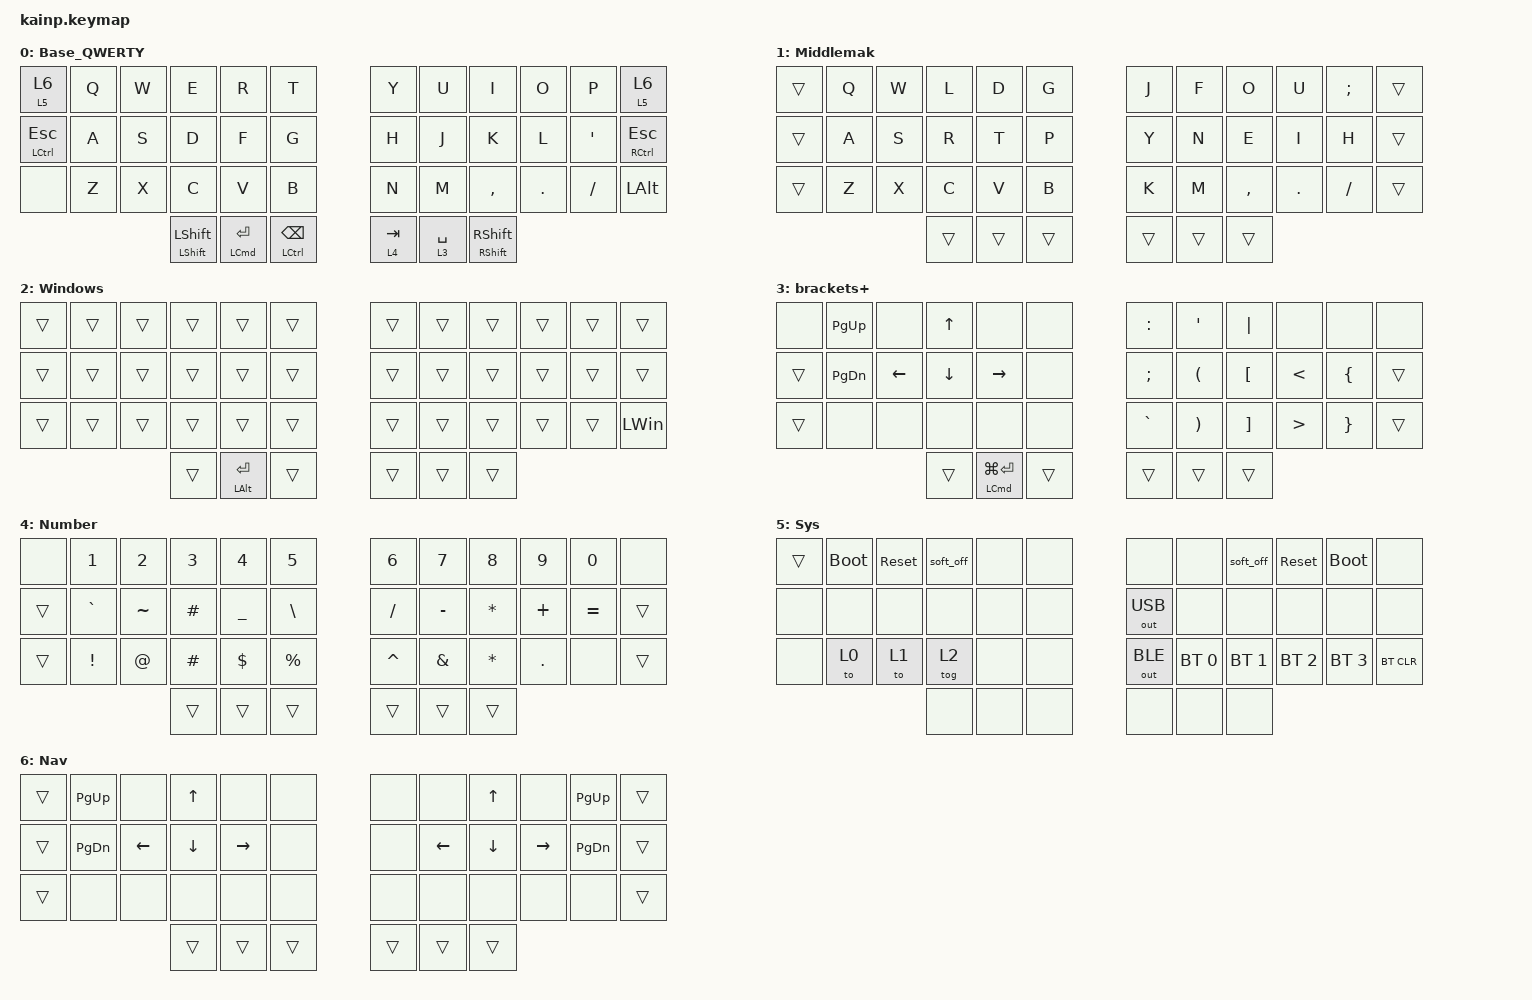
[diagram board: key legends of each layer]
/*
 * Copyright (c) 2020 The ZMK Contributors
 *
 * SPDX-License-Identifier: MIT
 */

#include <behaviors.dtsi>
#include <dt-bindings/zmk/bt.h>
#include <dt-bindings/zmk/keys.h>
#include <dt-bindings/zmk/outputs.h>

&lt { tapping-term-ms = <250>; };

/ {
    behaviors {
        smart_shift: smart_shift {
            compatible = "zmk,behavior-hold-tap";
            label = "Shift+";
            bindings = <&kp>, <&caps_word>;

            #binding-cells = <2>;
            tapping-term-ms = <200>;
        };

        number_layer: number_layer {
            compatible = "zmk,behavior-hold-tap";
            label = "NUMBER_LAYER";
            bindings = <&mo>, <&kp>;

            #binding-cells = <2>;
            flavor = "balanced";
            tapping-term-ms = <200>;
            quick-tap-ms = <0>;
            require-prior-idle-ms = <0>;
        };

        nav_or_sys: nav_or_sys {
            compatible = "zmk,behavior-hold-tap";
            #binding-cells = <2>;
            flavor = "tap-preferred";
            tapping-term-ms = <200>;
            quick-tap-ms = <0>;
            require-prior-idle-ms = <0>;
            bindings = <&mo>, <&tog>;
        };
    };

    keymap {
        compatible = "zmk,keymap";

        Base_QWERTY {
            // -----------------------------------------------------------------------------------------
            // |  TAB |  Q  |  W  |  E  |  R  |  T  |   |  Y  |  U   |  I  |  O  |  P  | BKSP |
            // | CTRL |  A  |  S  |  D  |  F  |  G  |   |  H  |  J   |  K  |  L  |  ;  |  '   |
            // | SHFT |  Z  |  X  |  C  |  V  |  B  |   |  N  |  M   |  ,  |  .  |  /  | ESC  |
            //                    | GUI | LWR | SPC |   | ENT | RSE  | ALT |

            bindings = <
&nav_or_sys 5 6   &kp Q  &kp W  &kp E                       &kp R                 &kp T             &kp Y                &kp U        &kp I                       &kp O    &kp P     &nav_or_sys 5 6
&mt LCTRL ESCAPE  &kp A  &kp S  &kp D                       &kp F                 &kp G             &kp H                &kp J        &kp K                       &kp L    &kp SQT   &mt RCTRL ESCAPE
&none             &kp Z  &kp X  &kp C                       &kp V                 &kp B             &kp N                &kp M        &kp COMMA                   &kp DOT  &kp FSLH  &kp LALT
                                &smart_shift LSHIFT LSHIFT  &mt LEFT_COMMAND RET  &mt LCTRL BSPC    &number_layer 4 TAB  &lt 3 SPACE  &smart_shift RSHIFT RSHIFT
            >;
        };

        Middlemak {
            bindings = <
&trans  &kp Q  &kp W  &kp L   &kp D   &kp G     &kp J   &kp F   &kp O      &kp U    &kp SEMI  &trans
&trans  &kp A  &kp S  &kp R   &kp T   &kp P     &kp Y   &kp N   &kp E      &kp I    &kp H     &trans
&trans  &kp Z  &kp X  &kp C   &kp V   &kp B     &kp K   &kp M   &kp COMMA  &kp DOT  &kp FSLH  &trans
                      &trans  &trans  &trans    &trans  &trans  &trans
            >;
        };

        Windows {
            bindings = <
&trans  &trans  &trans  &trans  &trans            &trans    &trans  &trans  &trans  &trans  &trans  &trans
&trans  &trans  &trans  &trans  &trans            &trans    &trans  &trans  &trans  &trans  &trans  &trans
&trans  &trans  &trans  &trans  &trans            &trans    &trans  &trans  &trans  &trans  &trans  &kp LEFT_WIN
                        &trans  &mt LEFT_ALT RET  &trans    &trans  &trans  &trans
            >;
        };

        brackets+ {
            bindings = <
&none   &kp PG_UP  &none     &kp UP    &none                     &none     &kp COLON      &kp SQT                &kp PIPE           &none             &none            &none
&trans  &kp PG_DN  &kp LEFT  &kp DOWN  &kp RIGHT                 &none     &kp SEMICOLON  &kp LEFT_PARENTHESIS   &kp LEFT_BRACKET   &kp LESS_THAN     &kp LEFT_BRACE   &trans
&trans  &none      &none     &none     &none                     &none     &kp GRAVE      &kp RIGHT_PARENTHESIS  &kp RIGHT_BRACKET  &kp GREATER_THAN  &kp RIGHT_BRACE  &trans
                             &trans    &mt LEFT_COMMAND LG(RET)  &trans    &trans         &trans                 &trans
            >;
        };

        Number {
            bindings = <
&none   &kp N1           &kp N2       &kp N3     &kp N4          &kp N5           &kp N6     &kp N7         &kp N8        &kp N9      &kp N0     &none
&trans  &kp GRAVE        &kp TILDE    &kp HASH   &kp UNDERSCORE  &kp BACKSLASH    &kp SLASH  &kp MINUS      &kp ASTERISK  &kp PLUS    &kp EQUAL  &trans
&trans  &kp EXCLAMATION  &kp AT_SIGN  &kp POUND  &kp DOLLAR      &kp PERCENT      &kp CARET  &kp AMPERSAND  &kp ASTERISK  &kp PERIOD  &none      &trans
                                      &trans     &trans          &trans           &trans     &trans         &trans
            >;
        };

        Sys {
            bindings = <
&trans  &bootloader  &sys_reset  &soft_off  &none  &none    &none         &none         &soft_off     &sys_reset    &bootloader   &none
&none   &none        &none       &none      &none  &none    &out OUT_USB  &none         &none         &none         &none         &none
&none   &to 0        &to 1       &tog 2     &none  &none    &out OUT_BLE  &bt BT_SEL 0  &bt BT_SEL 1  &bt BT_SEL 2  &bt BT_SEL 3  &bt BT_CLR
                                 &none      &none  &none    &none         &none         &none
            >;
        };

        Nav {
            bindings = <
&trans  &kp PG_UP  &none     &kp UP    &none      &none     &none   &none     &kp UP    &none      &kp PG_UP  &trans
&trans  &kp PG_DN  &kp LEFT  &kp DOWN  &kp RIGHT  &none     &none   &kp LEFT  &kp DOWN  &kp RIGHT  &kp PG_DN  &trans
&trans  &none      &none     &none     &none      &none     &none   &none     &none     &none      &none      &trans
                             &trans    &trans     &trans    &trans  &trans    &trans
            >;
        };
    };

    conditional_layers { compatible = "zmk,conditional-layers"; };
};
